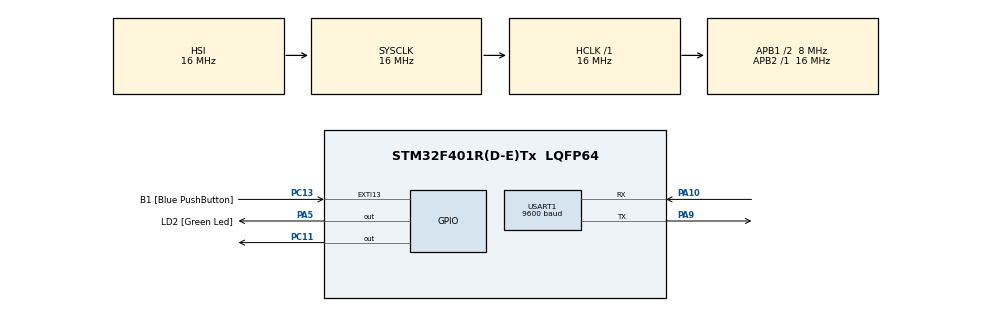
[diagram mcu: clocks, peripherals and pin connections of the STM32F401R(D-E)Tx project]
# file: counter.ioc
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Mcu.Family=STM32F4
Mcu.Name=STM32F401R(D-E)Tx
Mcu.Package=LQFP64
NVIC.PriorityGroup=NVIC_PRIORITYGROUP_0
NVIC.TIM3_IRQn=true\:0\:0\:false\:false\:true\:true\:true\:true
PA10.Mode=Asynchronous
PA10.Signal=USART1_RX
PA13.GPIO_Label=TMS
PA13.Mode=Serial_Wire
PA13.Signal=SYS_JTMS-SWDIO
PA14.GPIO_Label=TCK
PA14.Mode=Serial_Wire
PA14.Signal=SYS_JTCK-SWCLK
PA2.GPIO_Label=USART_TX
PA2.GPIO_Mode=GPIO_MODE_AF_PP
PA2.GPIO_PuPd=GPIO_NOPULL
PA2.GPIO_Speed=GPIO_SPEED_FREQ_LOW
PA2.Signal=USART2_TX
PA3.GPIO_Label=USART_RX
PA3.GPIO_Mode=GPIO_MODE_AF_PP
PA3.GPIO_PuPd=GPIO_NOPULL
PA3.GPIO_Speed=GPIO_SPEED_FREQ_LOW
PA3.Signal=USART2_RX
PA5.GPIO_Label=LD2 [Green Led]
PA5.GPIO_Mode=GPIO_MODE_OUTPUT_PP
PA5.GPIO_PuPd=GPIO_NOPULL
PA5.GPIO_Speed=GPIO_SPEED_FREQ_LOW
PA5.Signal=GPIO_Output
PA9.Mode=Asynchronous
PA9.Signal=USART1_TX
PB3.GPIO_Label=SWO
PB3.Signal=SYS_JTDO-SWO
PC11.Signal=GPIO_Output
PC13-ANTI_TAMP.GPIO_Label=B1 [Blue PushButton]
PC13-ANTI_TAMP.GPIO_ModeDefaultEXTI=GPIO_MODE_IT_FALLING
PC13-ANTI_TAMP.GPIO_PuPd=GPIO_NOPULL
PC13-ANTI_TAMP.Signal=GPXTI13
PC14-OSC32_IN.Mode=LSE-External-Oscillator
PC14-OSC32_IN.Signal=RCC_OSC32_IN
PC15-OSC32_OUT.Mode=LSE-External-Oscillator
PC15-OSC32_OUT.Signal=RCC_OSC32_OUT
PH0\ -\ OSC_IN.Mode=HSE-External-Clock-Source
PH0\ -\ OSC_IN.Signal=RCC_OSC_IN
PH1\ -\ OSC_OUT.Mode=HSE-External-Clock-Source
PH1\ -\ OSC_OUT.Signal=RCC_OSC_OUT
ProjectManager.HeapSize=0x200
ProjectManager.StackSize=0x400
ProjectManager.TargetToolchain=MDK-ARM V5.32
RCC.48MHZClocksFreq_Value=48000000
RCC.AHBFreq_Value=16000000
RCC.APB1CLKDivider=RCC_HCLK_DIV2
RCC.APB1Freq_Value=8000000
RCC.APB1TimFreq_Value=16000000
RCC.APB2Freq_Value=16000000
RCC.APB2TimFreq_Value=16000000
RCC.CortexFreq_Value=16000000
RCC.HCLKFreq_Value=16000000
RCC.HSE_VALUE=8000000
RCC.HSI_VALUE=16000000
RCC.PLLN=336
RCC.PLLP=RCC_PLLP_DIV4
RCC.PLLQ=7
RCC.SYSCLKFreq_VALUE=16000000
RCC.VCOOutputFreq_Value=336000000
TIM3.Period=999
TIM3.Prescaler=15999
TIM3.TIM_MasterSlaveMode=TIM_MASTERSLAVEMODE_DISABLE
USART1.BaudRate=9600
USART1.VirtualMode=VM_ASYNC
VP_TIM3_VS_ClockSourceINT.Mode=Internal
board=NUCLEO-F401RE

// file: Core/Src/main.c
/* USER CODE BEGIN Header */
/**
  ******************************************************************************
  * @file           : main.c
  * @brief          : Main program body
  ******************************************************************************
  * @attention
  *
  * Copyright (c) 2023 STMicroelectronics.
  * All rights reserved.
  *
  * This software is licensed under terms that can be found in the LICENSE file
  * in the root directory of this software component.
  * If no LICENSE file comes with this software, it is provided AS-IS.
  *
  ******************************************************************************
  */
/* USER CODE END Header */
#include "main.h"

/* USER CODE BEGIN Includes */
#include "stdio.h"
/* USER CODE END Includes */

 TIM_HandleTypeDef htim3;

UART_HandleTypeDef huart1;

/* USER CODE BEGIN PV */
	int Second=0;
	int Minute=0;
	char TX_buffer[4];
/* USER CODE END PV */

void SystemClock_Config(void);
static void MX_GPIO_Init(void);
static void MX_TIM3_Init(void);
static void MX_USART1_UART_Init(void);
/* USER CODE BEGIN PFP */
void HAL_TIM_PeriodElapsedCallback(TIM_HandleTypeDef *htim){
		Second+=1;
		if (Second>59) {
		Second=0;
		Minute+=1;
		}
		//sprintf(TX_buffer,"%i\r\n",Second);
		TX_buffer[0]=(char)Second%10;
		TX_buffer[1]=(char)Second/10;
		TX_buffer[2]=(char)Minute%10;
		TX_buffer[3]=(char)Minute/10;
		HAL_UART_Transmit(&huart1,TX_buffer,sizeof(TX_buffer), HAL_MAX_DELAY);
}
/* USER CODE END PFP */

int main(void)
{

  /* MCU Configuration--------------------------------------------------------*/

  /* Reset of all peripherals, Initializes the Flash interface and the Systick. */
  HAL_Init();

  /* Configure the system clock */
  SystemClock_Config();

  /* Initialize all configured peripherals */
  MX_GPIO_Init();
  MX_TIM3_Init();
  MX_USART1_UART_Init();
  /* USER CODE BEGIN 2 */
	HAL_TIM_Base_Start_IT(&htim3);
  /* USER CODE END 2 */

  /* Infinite loop */
  while (1)
  {

  }
}

void SystemClock_Config(void)
{
  RCC_OscInitTypeDef RCC_OscInitStruct = {0};
  RCC_ClkInitTypeDef RCC_ClkInitStruct = {0};

  /** Configure the main internal regulator output voltage
  */
  __HAL_RCC_PWR_CLK_ENABLE();
  __HAL_PWR_VOLTAGESCALING_CONFIG(PWR_REGULATOR_VOLTAGE_SCALE2);

  /** Initializes the RCC Oscillators according to the specified parameters
  * in the RCC_OscInitTypeDef structure.
  */
  RCC_OscInitStruct.OscillatorType = RCC_OSCILLATORTYPE_HSI;
  RCC_OscInitStruct.HSIState = RCC_HSI_ON;
  RCC_OscInitStruct.HSICalibrationValue = RCC_HSICALIBRATION_DEFAULT;
  RCC_OscInitStruct.PLL.PLLState = RCC_PLL_NONE;
  if (HAL_RCC_OscConfig(&RCC_OscInitStruct) != HAL_OK)
  {
    Error_Handler();
  }

  /** Initializes the CPU, AHB and APB buses clocks
  */
  RCC_ClkInitStruct.ClockType = RCC_CLOCKTYPE_HCLK|RCC_CLOCKTYPE_SYSCLK
                              |RCC_CLOCKTYPE_PCLK1|RCC_CLOCKTYPE_PCLK2;
  RCC_ClkInitStruct.SYSCLKSource = RCC_SYSCLKSOURCE_HSI;
  RCC_ClkInitStruct.AHBCLKDivider = RCC_SYSCLK_DIV1;
  RCC_ClkInitStruct.APB1CLKDivider = RCC_HCLK_DIV2;
  RCC_ClkInitStruct.APB2CLKDivider = RCC_HCLK_DIV1;

  if (HAL_RCC_ClockConfig(&RCC_ClkInitStruct, FLASH_LATENCY_0) != HAL_OK)
  {
    Error_Handler();
  }
}

static void MX_TIM3_Init(void)
{

  TIM_ClockConfigTypeDef sClockSourceConfig = {0};
  TIM_MasterConfigTypeDef sMasterConfig = {0};

  htim3.Instance = TIM3;
  htim3.Init.Prescaler = 15999;
  htim3.Init.CounterMode = TIM_COUNTERMODE_UP;
  htim3.Init.Period = 999;
  htim3.Init.ClockDivision = TIM_CLOCKDIVISION_DIV1;
  htim3.Init.AutoReloadPreload = TIM_AUTORELOAD_PRELOAD_DISABLE;
  if (HAL_TIM_Base_Init(&htim3) != HAL_OK)
  {
    Error_Handler();
  }
  sClockSourceConfig.ClockSource = TIM_CLOCKSOURCE_INTERNAL;
  if (HAL_TIM_ConfigClockSource(&htim3, &sClockSourceConfig) != HAL_OK)
  {
    Error_Handler();
  }
  sMasterConfig.MasterOutputTrigger = TIM_TRGO_RESET;
  sMasterConfig.MasterSlaveMode = TIM_MASTERSLAVEMODE_DISABLE;
  if (HAL_TIMEx_MasterConfigSynchronization(&htim3, &sMasterConfig) != HAL_OK)
  {
    Error_Handler();
  }

}

static void MX_USART1_UART_Init(void)
{

  huart1.Instance = USART1;
  huart1.Init.BaudRate = 9600;
  huart1.Init.WordLength = UART_WORDLENGTH_8B;
  huart1.Init.StopBits = UART_STOPBITS_1;
  huart1.Init.Parity = UART_PARITY_NONE;
  huart1.Init.Mode = UART_MODE_TX_RX;
  huart1.Init.HwFlowCtl = UART_HWCONTROL_NONE;
  huart1.Init.OverSampling = UART_OVERSAMPLING_16;
  if (HAL_UART_Init(&huart1) != HAL_OK)
  {
    Error_Handler();
  }

}

static void MX_GPIO_Init(void)
{
  GPIO_InitTypeDef GPIO_InitStruct = {0};

  /* GPIO Ports Clock Enable */
  __HAL_RCC_GPIOC_CLK_ENABLE();
  __HAL_RCC_GPIOH_CLK_ENABLE();
  __HAL_RCC_GPIOA_CLK_ENABLE();
  __HAL_RCC_GPIOB_CLK_ENABLE();

  /*Configure GPIO pin Output Level */
  HAL_GPIO_WritePin(LD2_GPIO_Port, LD2_Pin, GPIO_PIN_RESET);

  /*Configure GPIO pin Output Level */
  HAL_GPIO_WritePin(GPIOC, GPIO_PIN_11, GPIO_PIN_RESET);

  /*Configure GPIO pin : B1_Pin */
  GPIO_InitStruct.Pin = B1_Pin;
  GPIO_InitStruct.Mode = GPIO_MODE_IT_FALLING;
  GPIO_InitStruct.Pull = GPIO_NOPULL;
  HAL_GPIO_Init(B1_GPIO_Port, &GPIO_InitStruct);

  /*Configure GPIO pins : USART_TX_Pin USART_RX_Pin */
  GPIO_InitStruct.Pin = USART_TX_Pin|USART_RX_Pin;
  GPIO_InitStruct.Mode = GPIO_MODE_AF_PP;
  GPIO_InitStruct.Pull = GPIO_NOPULL;
  GPIO_InitStruct.Speed = GPIO_SPEED_FREQ_LOW;
  GPIO_InitStruct.Alternate = GPIO_AF7_USART2;
  HAL_GPIO_Init(GPIOA, &GPIO_InitStruct);

  /*Configure GPIO pin : LD2_Pin */
  GPIO_InitStruct.Pin = LD2_Pin;
  GPIO_InitStruct.Mode = GPIO_MODE_OUTPUT_PP;
  GPIO_InitStruct.Pull = GPIO_NOPULL;
  GPIO_InitStruct.Speed = GPIO_SPEED_FREQ_LOW;
  HAL_GPIO_Init(LD2_GPIO_Port, &GPIO_InitStruct);

  /*Configure GPIO pin : PC11 */
  GPIO_InitStruct.Pin = GPIO_PIN_11;
  GPIO_InitStruct.Mode = GPIO_MODE_OUTPUT_PP;
  GPIO_InitStruct.Pull = GPIO_NOPULL;
  GPIO_InitStruct.Speed = GPIO_SPEED_FREQ_LOW;
  HAL_GPIO_Init(GPIOC, &GPIO_InitStruct);

}

void Error_Handler(void)
{
  __disable_irq();
  while (1)
  {
  }
}
